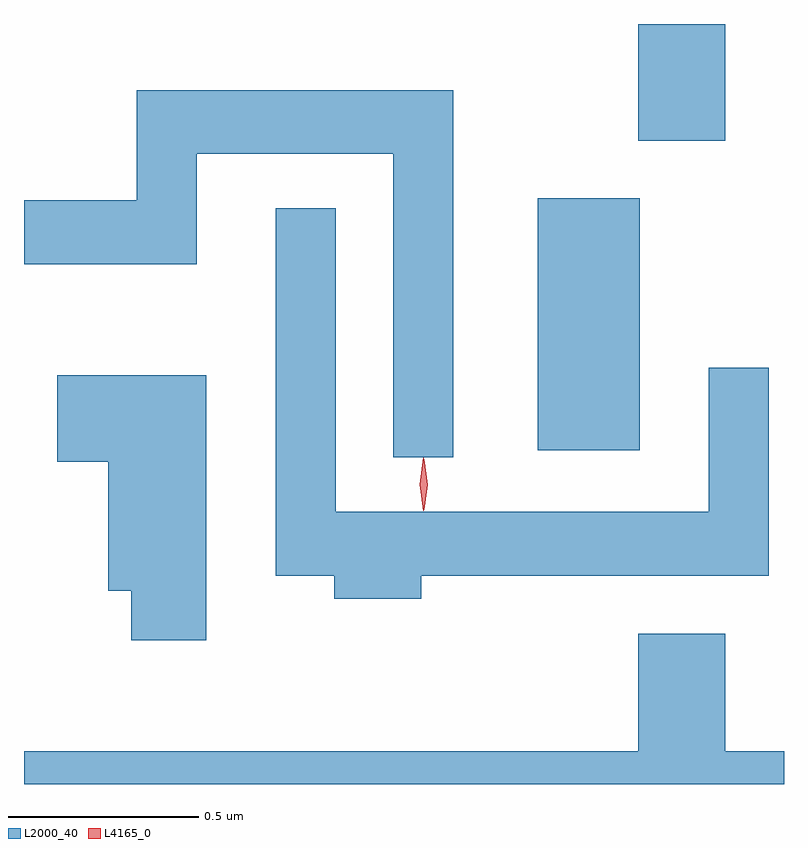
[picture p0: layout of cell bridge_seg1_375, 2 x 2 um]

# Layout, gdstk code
import gdstk
lib = gdstk.Library(unit=1e-6, precision=1e-09)
def R(c, l, rs):  # rectangles x0, y0, x1, y1
    for r in rs: c.add(gdstk.rectangle(r[:2], r[2:], *l))
def P(c, l, *ps):  # polygons
    for p in ps: c.add(gdstk.Polygon(p, *l))
L2000_40 = (2000, 40)
L4165_0 = (4165, 0)

bridge_seg1_375 = lib.new_cell('bridge_seg1_375')
R(bridge_seg1_375, L2000_40, [(937.866,873.996,938.134,874.659), (938.131,874.811,938.359,875.118)])
P(bridge_seg1_375, L2000_40, [(937.644,874.944),(936.811,874.944),(936.811,874.654),(936.514,874.654),(936.514,874.486),(936.969,874.486),(936.969,874.776),(937.486,874.776),(937.486,873.978),(937.644,873.978)],
  [(937.559,873.666),(938.474,873.666),(938.474,874.213),(938.316,874.213),(938.316,873.834),(937.334,873.834),(937.334,874.633),(937.176,874.633),(937.176,873.666),(937.331,873.666),(937.331,873.606),(937.559,873.606)],
  [(936.994,874.194),(936.601,874.194),(936.601,873.966),(936.736,873.966),(936.736,873.626),(936.796,873.626),(936.796,873.496),(936.994,873.496)],
  [(938.514,873.204),(938.359,873.204),(938.359,873.514),(938.131,873.514),(938.131,873.204),(936.514,873.204),(936.514,873.118),(938.514,873.118)])
P(bridge_seg1_375, L4165_0, [(937.565,873.837),(937.565,873.837),(937.555,873.907),(937.565,873.976),(937.565,873.976),(937.566,873.976),(937.575,873.907),(937.566,873.837)],
  [(937.566,873.84),(937.566,873.84),(937.556,873.906),(937.566,873.972),(937.566,873.973),(937.567,873.972),(937.576,873.906),(937.567,873.84)])

lib.write_gds('bridge_seg1_375.gds')
